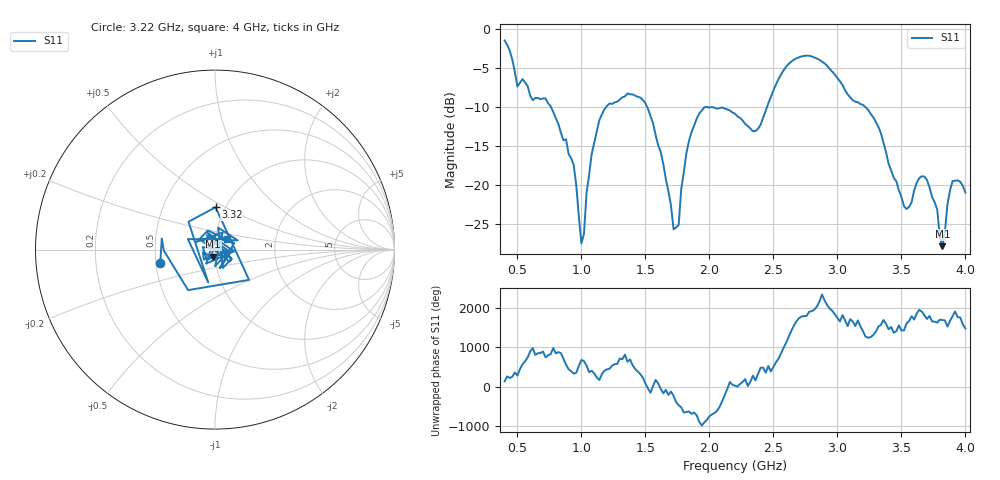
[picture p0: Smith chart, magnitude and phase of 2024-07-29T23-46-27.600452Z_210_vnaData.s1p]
!Created with skrf (http://scikit-rf.org).
# Hz S RI R 50.0
!freq ReS11 ImS11
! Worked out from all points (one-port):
!   181 points, 400 MHz to 4 GHz, reference 50 ohm
!   lowest |S11| = -27.9 dB at 3.82 GHz (marker M1), VSWR 1.08, Z = 48.9 - j3.86 ohm
!   |S11| at or under -10 dB: 761.8 MHz to 1.194 GHz (432.4 MHz wide, 44.2 % of centre); 1.513 GHz to 2.451 GHz (937.7 MHz wide, 47.3 % of centre); 3.216 GHz to end of sweep
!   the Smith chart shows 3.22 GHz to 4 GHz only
!   S11 on the Smith chart (normalised r, x): 3.22 GHz: 0.53, -0.09; 3.32 GHz: 0.90, +0.45; 4 GHz: 1.13, +0.14
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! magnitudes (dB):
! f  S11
! 400 MHz  -1.5
! 500 MHz  -7.4
! 720 MHz  -8.9
! 860 MHz  -14.3
! 940 MHz  -17.5
! 1 GHz  -27.5
! 1.08 GHz  -16.1
! 1.14 GHz  -11.7
! 1.3 GHz  -9.1
! 1.5 GHz  -9.5
! 1.62 GHz  -15.8
! 1.72 GHz  -25.7
! 1.76 GHz  -25.1
! 1.82 GHz  -16.0
! 1.92 GHz  -10.9
! 2.2 GHz  -10.9
! 2.38 GHz  -12.8
! 2.66 GHz  -4.0
! 2.86 GHz  -4.0
! 3.1 GHz  -8.8
! 3.22 GHz  -10.1
! 3.32 GHz  -12.5
! 3.56 GHz  -22.8
! 3.68 GHz  -18.9
! 3.78 GHz  -23.2
! 3.82 GHz  -27.9
! 3.9 GHz  -19.5
! 4 GHz  -21.0
